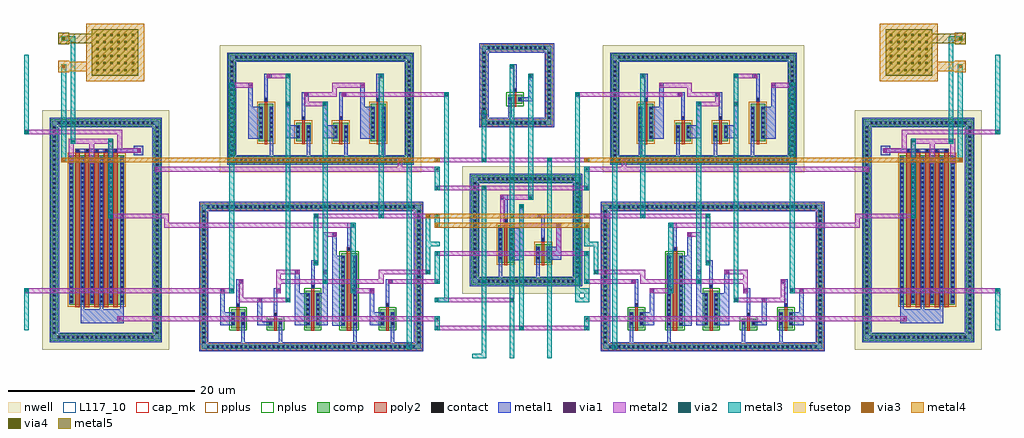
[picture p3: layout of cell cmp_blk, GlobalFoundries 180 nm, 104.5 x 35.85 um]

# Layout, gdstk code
from math import pi, radians
import gdstk
lib = gdstk.Library(unit=1e-6, precision=1e-09)
def R(c, l, rs):  # rectangles x0, y0, x1, y1
    for r in rs: c.add(gdstk.rectangle(r[:2], r[2:], *l))
def A(c, l, x, y, w, h, nx, ny, dx, dy):  # array of equal rectangles
    R(c, l, [(x+i*dx, y+j*dy, x+i*dx+w, y+j*dy+h) for i in range(nx) for j in range(ny)])
nwell = (21, 0)
comp = (22, 0)
poly2 = (30, 0)
pplus = (31, 0)
nplus = (32, 0)
contact = (33, 0)
metal1 = (34, 0)
via1 = (35, 0)
metal2 = (36, 0)
via2 = (38, 0)
via3 = (40, 0)
via4 = (41, 0)
metal3 = (42, 0)
metal4 = (46, 0)
fusetop = (75, 0)
metal5 = (81, 0)
cap_mk = (117, 5)
L117_10 = (117, 10)

nfet__5 = lib.new_cell('nfet__5')
R(nfet__5, comp, [(-0.42,0,0,2), (0,0,0.66,2), (0.66,0,1.08,2)])
R(nfet__5, poly2, [(0.19,-0.3,0.47,2.3), (0.15,2.3,0.51,2.66)])
R(nfet__5, nplus, [(-0.59,-0.24,1.25,2.24)])
A(nfet__5, contact, -0.32, 0.38, 0.22, 0.22, 1, 3, 0, 0.51)
A(nfet__5, contact, 0.76, 0.38, 0.22, 0.22, 1, 3, 0, 0.51)
R(nfet__5, contact, [(0.22,2.37,0.44,2.59)])
R(nfet__5, metal1, [(-0.4,0.3,-0.02,1.7), (0.68,0.3,1.06,1.7), (0.14,2.285,0.52,2.675)])

nfet__6 = lib.new_cell('nfet__6')
R(nfet__6, comp, [(-0.42,0,0,8), (0,0,0.88,8), (0.88,0,1.3,8)])
R(nfet__6, poly2, [(0.19,-0.3,0.69,8.3), (0.19,8.3,0.69,8.66)])
R(nfet__6, nplus, [(-0.59,-0.24,1.47,8.24)])
A(nfet__6, contact, -0.32, 0.32, 0.22, 0.22, 1, 15, 0, 0.51)
A(nfet__6, contact, 0.98, 0.32, 0.22, 0.22, 1, 15, 0, 0.51)
R(nfet__6, contact, [(0.33,8.37,0.55,8.59)])
R(nfet__6, metal1, [(-0.4,0.24,-0.02,7.76), (0.9,0.24,1.28,7.76), (0.25,8.285,0.63,8.675)])

nfet__7 = lib.new_cell('nfet__7')
R(nfet__7, comp, [(-0.42,0,0,4), (0,0,0.66,4), (0.66,0,1.08,4)])
R(nfet__7, poly2, [(0.19,-0.3,0.47,4.3), (0.15,4.3,0.51,4.66)])
R(nfet__7, nplus, [(-0.59,-0.24,1.25,4.24)])
A(nfet__7, contact, -0.32, 0.36, 0.22, 0.22, 1, 7, 0, 0.51)
A(nfet__7, contact, 0.76, 0.36, 0.22, 0.22, 1, 7, 0, 0.51)
R(nfet__7, contact, [(0.22,4.37,0.44,4.59)])
R(nfet__7, metal1, [(-0.4,0.28,-0.02,3.72), (0.68,0.28,1.06,3.72), (0.14,4.285,0.52,4.675)])

nfet__0 = lib.new_cell('nfet__0')
R(nfet__0, comp, [(-0.42,0,0,1), (0,0,0.66,1), (0.66,0,1.08,1)])
R(nfet__0, poly2, [(0.19,-0.3,0.47,1.3), (0.15,1.3,0.51,1.66)])
R(nfet__0, nplus, [(-0.59,-0.24,1.25,1.24)])
R(nfet__0, contact, [(-0.32,0.39,-0.1,0.61), (0.76,0.39,0.98,0.61), (0.22,1.37,0.44,1.59)])
R(nfet__0, metal1, [(-0.4,0.305,-0.02,0.695), (0.68,0.305,1.06,0.695), (0.14,1.285,0.52,1.675)])

cn_x = lib.new_cell('cn_x')
R(cn_x, comp, [(-3.21,-2.21,-2.79,13.21), (-2.79,-2.21,19.79,-1.79), (19.79,-2.21,20.21,13.21), (-2.79,12.79,19.79,13.21)])
R(cn_x, pplus, [(-3.37,-2.37,20.37,-1.63), (-3.37,-2.37,-2.63,13.37), (19.63,-2.37,20.37,13.37), (-3.37,12.63,20.37,13.37)])
A(cn_x, contact, -2.61, -2.11, 0.22, 0.22, 45, 2, 0.5, 15)
A(cn_x, contact, -3.11, -1.61, 0.22, 0.22, 1, 29, 0, 0.5)
A(cn_x, contact, 19.89, -1.61, 0.22, 0.22, 1, 29, 0, 0.5)
R(cn_x, metal1, [(-3.5,-2.5,-2.5,13.5), (-2.5,-2.5,19.5,-1.5), (19.5,-2.5,20.5,13.5), (-0.4,-2,-0.02,0.32), (3.6,-2,3.98,0.26), (11.6,-2,11.98,0.325), (15.6,-2,15.98,0.32), (3.6,0.24,3.98,7.76), (4.9,0.24,6.25,7.76), (5.75,0.24,6.25,10.25), (6.75,0.28,7.98,3.72), (6.75,0.28,7.25,6.25), (8.68,0.28,10.25,3.72), (9.75,0.28,10.25,6.25), (-0.4,0.3,-0.02,1.7), (0.68,0.3,2.25,1.7), (1.75,0.3,2.25,4.25), (15.6,0.3,15.98,1.7), (16.68,0.3,18.25,1.7), (17.75,0.3,18.25,4.25), (11.6,0.305,11.98,0.695), (12.68,0.305,14.25,0.695), (13.75,0.305,14.25,3.25), (12.14,1.655,12.52,4.25), (0.14,2.655,0.52,5.25), (16.14,2.655,16.52,5.25), (11.75,3.75,12.52,4.25), (8.14,4.655,8.52,7.25), (-0.25,4.75,0.52,5.25), (15.75,4.75,16.52,5.25), (7.75,6.75,8.52,7.25), (4.25,8.655,4.63,11.25), (3.75,10.75,4.63,11.25), (-2.5,12.5,19.5,13.5)])
cn_x.add(gdstk.Reference(nfet__5, (0,0)))
cn_x.add(gdstk.Reference(nfet__6, (4,0)))
cn_x.add(gdstk.Reference(nfet__7, (8,0)))
cn_x.add(gdstk.Reference(nfet__0, (12,0)))
cn_x.add(gdstk.Reference(nfet__5, (16,0)))

pfet__8 = lib.new_cell('pfet__8')
R(pfet__8, nwell, [(-0.9,-0.44,1.56,4.44)])
R(pfet__8, comp, [(-0.46,0,0,4), (0,0,0.66,4), (0.66,0,1.12,4)])
R(pfet__8, poly2, [(0.19,-0.3,0.47,4.3), (0.14,4.3,0.52,4.68)])
R(pfet__8, pplus, [(-0.63,-0.24,1.29,4.24)])
A(pfet__8, contact, -0.34, 0.36, 0.22, 0.22, 1, 7, 0, 0.51)
A(pfet__8, contact, 0.78, 0.36, 0.22, 0.22, 1, 7, 0, 0.51)
R(pfet__8, contact, [(0.22,4.38,0.44,4.6)])
R(pfet__8, metal1, [(-0.42,0.28,-0.04,3.72), (0.7,0.28,1.08,3.72), (0.14,4.295,0.52,4.685)])

pfet__1 = lib.new_cell('pfet__1')
R(pfet__1, nwell, [(-0.9,-0.44,1.56,2.44)])
R(pfet__1, comp, [(-0.46,0,0,2), (0,0,0.66,2), (0.66,0,1.12,2)])
R(pfet__1, poly2, [(0.19,-0.3,0.47,2.3), (0.14,2.3,0.52,2.68)])
R(pfet__1, pplus, [(-0.63,-0.24,1.29,2.24)])
A(pfet__1, contact, -0.34, 0.38, 0.22, 0.22, 1, 3, 0, 0.51)
A(pfet__1, contact, 0.78, 0.38, 0.22, 0.22, 1, 3, 0, 0.51)
R(pfet__1, contact, [(0.22,2.38,0.44,2.6)])
R(pfet__1, metal1, [(-0.42,0.3,-0.04,1.7), (0.7,0.3,1.08,1.7), (0.14,2.295,0.52,2.685)])

cp_x = lib.new_cell('cp_x')
R(cp_x, nwell, [(-4.3,-3.3,17.3,10.3)])
R(cp_x, comp, [(-3.21,-2.21,-2.79,9.21), (-2.79,-2.21,15.79,-1.79), (15.79,-2.21,16.21,9.21), (-2.79,8.79,15.79,9.21)])
R(cp_x, nplus, [(-3.37,-2.37,16.37,-1.63), (-3.37,-2.37,-2.63,9.37), (15.63,-2.37,16.37,9.37), (-3.37,8.63,16.37,9.37)])
A(cp_x, contact, -2.61, -2.11, 0.22, 0.22, 37, 2, 0.5, 11)
A(cp_x, contact, -3.11, -1.61, 0.22, 0.22, 1, 21, 0, 0.5)
A(cp_x, contact, 15.89, -1.61, 0.22, 0.22, 1, 21, 0, 0.5)
R(cp_x, metal1, [(-3.5,-2.5,-2.5,9.5), (-2.5,-2.5,15.5,-1.5), (15.5,-2.5,16.5,9.5), (-0.42,-2,-0.04,0.3), (3.58,-2,3.96,0.32), (7.58,-2,7.96,0.32), (11.58,-2,11.96,0.3), (-0.42,0.28,-0.04,3.72), (0.7,0.28,2.25,3.72), (1.75,0.28,2.25,6.25), (11.58,0.28,11.96,3.72), (12.7,0.28,14.25,3.72), (13.75,0.28,14.25,6.25), (3.58,0.3,3.96,1.7), (4.7,0.3,6.25,1.7), (5.75,0.3,6.25,4.25), (7.58,0.3,7.96,1.7), (8.7,0.3,10.25,1.7), (9.75,0.3,10.25,4.25), (4.14,2.665,4.52,5.25), (8.14,2.665,8.52,5.25), (0.14,4.665,0.52,7.25), (12.14,4.665,12.52,7.25), (3.75,4.75,4.52,5.25), (7.75,4.75,8.52,5.25), (-0.25,6.75,0.52,7.25), (11.75,6.75,12.52,7.25), (-2.5,8.5,15.5,9.5)])
cp_x.add(gdstk.Reference(pfet__8, (0,0)))
cp_x.add(gdstk.Reference(pfet__1, (4,0)))
cp_x.add(gdstk.Reference(pfet__1, (8,0)))
cp_x.add(gdstk.Reference(pfet__8, (12,0)))

pfet__4 = lib.new_cell('pfet__4')
R(pfet__4, nwell, [(-0.9,-0.44,5.86,16.44)])
R(pfet__4, comp, [(-0.46,0,0,16), (0,0,4.96,16), (4.96,0,5.42,16)])
A(pfet__4, poly2, 0.19, -0.3, 0.5, 16.6, 5, 1, 1.02, 0)
A(pfet__4, poly2, 0.19, 16.3, 0.5, 0.38, 5, 1, 1.02, 0)
R(pfet__4, pplus, [(-0.63,-0.24,5.59,16.24)])
A(pfet__4, contact, -0.34, 0.24, 0.22, 0.22, 1, 31, 0, 0.51)
A(pfet__4, contact, 0.84, 0.24, 0.22, 0.22, 4, 31, 1.02, 0.51)
A(pfet__4, contact, 5.08, 0.24, 0.22, 0.22, 1, 31, 0, 0.51)
A(pfet__4, contact, 0.33, 16.38, 0.22, 0.22, 5, 1, 1.02, 0)
A(pfet__4, metal1, 0.76, 0.16, 0.38, 15.68, 4, 1, 1.02, 0)
A(pfet__4, metal1, 0.25, 16.295, 0.38, 0.39, 5, 1, 1.02, 0)
R(pfet__4, metal1, [(-0.42,0.16,-0.04,15.84), (5,0.16,5.38,15.84)])

pair_x = lib.new_cell('pair_x')
R(pair_x, nwell, [(-5.3,-5.3,8.3,20.3)])
R(pair_x, comp, [(-4.21,-4.21,-3.79,19.21), (-3.79,-4.21,6.79,-3.79), (6.79,-4.21,7.21,19.21), (-3.79,18.79,6.79,19.21)])
R(pair_x, nplus, [(-4.37,-4.37,7.37,-3.63), (-4.37,-4.37,-3.63,19.37), (6.63,-4.37,7.37,19.37), (-4.37,18.63,7.37,19.37)])
A(pair_x, contact, -3.61, -4.11, 0.22, 0.22, 21, 2, 0.5, 23)
A(pair_x, contact, -4.11, -3.61, 0.22, 0.22, 1, 45, 0, 0.5)
A(pair_x, contact, 6.89, -3.61, 0.22, 0.22, 1, 45, 0, 0.5)
R(pair_x, metal1, [(-4.5,-4.5,-3.5,19.5), (-3.5,-4.5,6.5,-3.5), (6.5,-4.5,7.5,19.5), (-0.42,-2.49,-0.04,-0.31), (-0.42,-2.49,4.2,-0.99), (1.78,-2.49,2.16,-0.31), (3.82,-2.49,4.2,-0.31), (0.7,14.65,1.2,15.15), (2.74,14.65,3.24,15.15), (4.94,14.65,5.44,15.15), (-2.5,15.5,-1.5,16.5), (-2,15.805,0.26,16.195), (0.25,15.805,4.71,16.195), (-3.5,18.5,6.5,19.5)])
R(pair_x, via1, [(0.82,14.77,1.08,15.03), (2.86,14.77,3.12,15.03), (5.06,14.77,5.32,15.03)])
R(pair_x, metal2, [(0.7,14.65,1.2,17.25), (2.74,14.65,3.24,17.25), (4.94,14.65,5.44,17.25), (0.7,16.75,5.44,17.25)])
pair_x.add(gdstk.Reference(pfet__4, (0,-0.49)))

cap_mim__2 = lib.new_cell('cap_mim__2')
A(cap_mim__2, via4, 0.47, 0.47, 0.26, 0.26, 6, 6, 0.76, 0.76)
R(cap_mim__2, metal4, [(-0.6,-0.6,5.6,5.6)])
R(cap_mim__2, fusetop, [(0,0,5,5)])
R(cap_mim__2, metal5, [(0,0,5,5)])
R(cap_mim__2, cap_mk, [(-0.6,-0.6,5.6,5.6)])
R(cap_mim__2, L117_10, [(0,0,5,0.1)])

cxa_x = lib.new_cell('cxa_x')
R(cxa_x, via4, [(7.87,3.87,8.13,4.13)])
R(cxa_x, metal4, [(7.4,0.4,8.6,1.6), (5.5,0.5,7.5,1.5), (7.4,3.4,8.6,4.6)])
R(cxa_x, metal5, [(7.4,3.4,8.6,4.6), (4.99,3.5,8.6,4.5)])
cxa_x.add(gdstk.Reference(cap_mim__2, (0,0)))

cmp_side = lib.new_cell('cmp_side')
R(cmp_side, metal1, [(1.75,0.75,2.25,1.25), (32.75,3.75,33.25,4.25), (17.75,5.75,18.25,6.25), (5.75,6.75,6.25,7.25), (15.75,6.75,16.25,7.25), (21.75,6.75,22.25,7.25), (3.75,7.75,4.25,8.25), (19.75,7.75,20.25,8.25), (10.75,8.75,11.25,9.25), (13.75,8.75,14.25,9.25), (11.75,9.75,12.25,10.25), (9.75,12.75,10.25,13.25), (7.75,13.75,8.25,14.25), (28.75,19.75,29.25,20.25), (2.75,20.75,3.25,21.25), (30.75,21.75,31.25,22.25), (10.75,26.75,11.25,27.25), (14.75,26.75,15.25,27.25), (8.75,27.75,9.25,28.25), (12.75,27.75,13.25,28.25), (6.75,28.75,7.25,29.25), (18.75,28.75,19.25,29.25), (4.75,29.75,5.25,30.25), (16.75,29.75,17.25,30.25)])
R(cmp_side, via1, [(1.87,0.87,2.13,1.13), (32.87,3.87,33.13,4.13), (17.87,5.87,18.13,6.13), (5.87,6.87,6.13,7.13), (15.87,6.87,16.13,7.13), (21.87,6.87,22.13,7.13), (3.87,7.87,4.13,8.13), (19.87,7.87,20.13,8.13), (10.87,8.87,11.13,9.13), (13.87,8.87,14.13,9.13), (11.87,9.87,12.13,10.13), (9.87,12.87,10.13,13.13), (7.87,13.87,8.13,14.13), (28.87,19.87,29.13,20.13), (2.87,20.87,3.13,21.13), (30.87,21.87,31.13,22.13), (10.87,26.87,11.13,27.13), (14.87,26.87,15.13,27.13), (8.87,27.87,9.13,28.13), (12.87,27.87,13.13,28.13), (6.87,28.87,7.13,29.13), (18.87,28.87,19.13,29.13), (4.87,29.87,5.13,30.13), (16.87,29.87,17.13,30.13)])
A(cmp_side, metal2, -1.25, 3.75, 1.5, 0.5, 34, 1, 1, 0)
A(cmp_side, metal2, -1.25, 3.75, 0.5, 0.5, 35, 1, 1, 0)
A(cmp_side, metal2, 14.75, 5.75, 1.5, 0.5, 5, 1, 1, 0)
A(cmp_side, metal2, 14.75, 5.75, 0.5, 0.5, 4, 1, 1, 0)
A(cmp_side, metal2, 17.75, 5.75, 0.5, 0.5, 3, 1, 1, 0)
A(cmp_side, metal2, 5.75, 6.75, 0.5, 0.5, 3, 1, 1, 0)
A(cmp_side, metal2, 19.75, 6.75, 0.5, 0.5, 3, 1, 1, 0)
A(cmp_side, metal2, 20.75, 6.75, 1.5, 0.5, 22, 1, 1, 0)
A(cmp_side, metal2, 21.75, 6.75, 0.5, 0.5, 22, 1, 1, 0)
A(cmp_side, metal2, -1.25, 7.75, 1.5, 0.5, 5, 1, 1, 0)
A(cmp_side, metal2, -1.25, 7.75, 0.5, 0.5, 13, 1, 1, 0)
A(cmp_side, metal2, 4.75, 7.75, 1.5, 0.5, 11, 1, 1, 0)
A(cmp_side, metal2, 10.75, 7.75, 0.5, 0.5, 6, 1, 1, 0)
A(cmp_side, metal2, -0.25, 8.75, 1.5, 0.5, 5, 1, 1, 0)
A(cmp_side, metal2, -0.25, 8.75, 0.5, 0.5, 6, 1, 1, 0)
A(cmp_side, metal2, 10.75, 8.75, 0.5, 0.5, 1, 5, 0, 1)
A(cmp_side, metal2, 10.75, 8.75, 0.5, 1.5, 1, 4, 0, 1)
A(cmp_side, metal2, 13.75, 8.75, 0.5, 0.5, 3, 1, 1, 0)
A(cmp_side, metal2, 7.75, 13.75, 1.5, 0.5, 20, 1, 1, 0)
A(cmp_side, metal2, 7.75, 13.75, 0.5, 0.5, 21, 1, 1, 0)
A(cmp_side, metal2, -1.25, 14.75, 1.5, 0.5, 13, 1, 1, 0)
A(cmp_side, metal2, -1.25, 14.75, 0.5, 0.5, 7, 1, 1, 0)
A(cmp_side, metal2, 4.75, 14.75, 0.5, 0.5, 8, 1, 1, 0)
A(cmp_side, metal2, 27.75, 14.75, 1.5, 0.5, 6, 1, 1, 0)
A(cmp_side, metal2, 27.75, 14.75, 0.5, 0.5, 7, 1, 1, 0)
A(cmp_side, metal2, -1.25, 19.75, 1.5, 0.5, 30, 1, 1, 0)
A(cmp_side, metal2, -1.25, 19.75, 0.5, 0.5, 5, 1, 1, 0)
A(cmp_side, metal2, 2.75, 19.75, 0.5, 0.5, 27, 1, 1, 0)
A(cmp_side, metal2, 30.75, 21.75, 0.5, 0.5, 3, 1, 1, 0)
A(cmp_side, metal2, 33.75, 22.75, 1.5, 0.5, 4, 1, 1, 0)
A(cmp_side, metal2, 33.75, 22.75, 0.5, 0.5, 5, 1, 1, 0)
A(cmp_side, metal2, 32.75, 23.75, 1.5, 0.5, 10, 1, 1, 0)
A(cmp_side, metal2, 32.75, 23.75, 0.5, 0.5, 11, 1, 1, 0)
A(cmp_side, metal2, 10.75, 26.75, 0.5, 0.5, 3, 1, 1, 0)
A(cmp_side, metal2, -2.25, 27.75, 1.5, 0.5, 11, 1, 1, 0)
A(cmp_side, metal2, -2.25, 27.75, 0.5, 0.5, 16, 1, 1, 0)
A(cmp_side, metal2, 9.75, 27.75, 1.5, 0.5, 3, 1, 1, 0)
A(cmp_side, metal2, 6.75, 28.75, 1.5, 0.5, 3, 1, 1, 0)
A(cmp_side, metal2, 6.75, 28.75, 0.5, 0.5, 4, 1, 1, 0)
A(cmp_side, metal2, 18.75, 28.75, 0.5, 0.5, 3, 1, 1, 0)
A(cmp_side, metal2, 14.75, 29.75, 0.5, 0.5, 3, 1, 1, 0)
R(cmp_side, metal2, [(1.75,0.75,2.25,1.25), (19.75,5.75,20.25,7.25), (5.75,6.75,7.25,7.25), (6.75,6.75,8.25,7.25), (15.75,6.75,16.25,7.25), (15.75,6.75,16.25,8.25), (19.75,6.75,20.25,8.25), (4.75,7.75,5.25,9.25), (15.75,7.75,16.25,8.25), (15.75,7.75,16.25,9.25), (19.75,7.75,20.25,8.25), (13.75,8.75,15.25,9.25), (14.75,8.75,16.25,9.25), (11.75,9.75,12.25,10.25), (9.75,12.75,11.25,13.25), (9.75,12.75,10.25,13.25), (7.75,13.75,8.25,14.25), (27.75,13.75,28.25,15.25), (2.75,19.75,3.25,21.25), (2.75,20.75,3.25,21.25), (30.75,21.75,32.25,22.25), (31.75,21.75,33.25,22.25), (32.75,21.75,33.25,23.25), (32.75,22.75,33.25,23.25), (32.75,22.75,33.25,24.25), (33.75,22.75,34.25,23.25), (10.75,26.75,12.25,27.25), (10.75,26.75,11.25,27.25), (11.75,26.75,13.25,27.25), (12.75,26.75,13.25,28.25), (14.75,26.75,15.25,27.25), (9.75,27.75,10.25,29.25), (12.75,27.75,13.25,28.25), (18.75,28.75,20.25,29.25), (19.75,28.75,21.25,29.25), (4.75,29.75,5.25,30.25), (14.75,29.75,16.25,30.25), (15.75,29.75,17.25,30.25)])
R(cmp_side, via2, [(1.87,0.87,2.13,1.13), (-1.13,3.87,-0.87,4.13), (14.87,5.87,15.13,6.13), (7.87,6.87,8.13,7.13), (20.87,6.87,21.13,7.13), (42.87,6.87,43.13,7.13), (-1.13,7.87,-0.87,8.13), (10.87,7.87,11.13,8.13), (-0.13,8.87,0.13,9.13), (11.87,9.87,12.13,10.13), (7.87,13.87,8.13,14.13), (-1.13,14.87,-0.87,15.13), (4.87,14.87,5.13,15.13), (11.87,14.87,12.13,15.13), (33.87,14.87,34.13,15.13), (-1.13,19.87,-0.87,20.13), (33.87,22.87,34.13,23.13), (37.87,22.87,38.13,23.13), (42.87,23.87,43.13,24.13), (10.87,26.87,11.13,27.13), (14.87,26.87,15.13,27.13), (-2.13,27.87,-1.87,28.13), (20.87,28.87,21.13,29.13), (4.87,29.87,5.13,30.13), (14.87,29.87,15.13,30.13)])
R(cmp_side, via3, [(-1.13,20.87,-0.87,21.13), (1.87,20.87,2.13,21.13), (38.87,20.87,39.13,21.13), (38.87,30.87,39.13,31.13), (38.87,33.87,39.13,34.13)])
A(cmp_side, metal3, 1.75, 0.75, 0.5, 1.5, 1, 8, 0, 1)
A(cmp_side, metal3, 1.75, 0.75, 0.5, 0.5, 1, 9, 0, 1)
A(cmp_side, metal3, 42.75, 2.75, 0.5, 1.5, 1, 4, 0, 1)
A(cmp_side, metal3, 42.75, 2.75, 0.5, 0.5, 1, 5, 0, 1)
A(cmp_side, metal3, -2.25, 5.75, 0.5, 1.5, 1, 3, 0, 1)
A(cmp_side, metal3, -2.25, 5.75, 0.5, 0.5, 1, 4, 0, 1)
A(cmp_side, metal3, 14.75, 5.75, 0.5, 1.5, 1, 24, 0, 1)
A(cmp_side, metal3, 14.75, 5.75, 0.5, 0.5, 1, 22, 0, 1)
A(cmp_side, metal3, 7.75, 6.75, 0.5, 1.5, 1, 7, 0, 1)
A(cmp_side, metal3, 7.75, 6.75, 0.5, 0.5, 1, 8, 0, 1)
A(cmp_side, metal3, 20.75, 6.75, 0.5, 1.5, 1, 22, 0, 1)
A(cmp_side, metal3, 20.75, 6.75, 0.5, 0.5, 1, 23, 0, 1)
A(cmp_side, metal3, 10.75, 7.75, 0.5, 1.5, 1, 19, 0, 1)
A(cmp_side, metal3, 10.75, 7.75, 0.5, 0.5, 1, 20, 0, 1)
A(cmp_side, metal3, -2.25, 8.75, 0.5, 1.5, 3, 3, 2, 1)
A(cmp_side, metal3, -2.25, 9.75, 0.5, 0.5, 3, 2, 2, 1)
A(cmp_side, metal3, 11.75, 9.75, 0.5, 1.5, 1, 5, 0, 1)
A(cmp_side, metal3, 11.75, 9.75, 0.5, 0.5, 1, 6, 0, 1)
A(cmp_side, metal3, -2.25, 11.75, 0.5, 1.5, 1, 16, 0, 1)
A(cmp_side, metal3, -2.25, 11.75, 0.5, 0.5, 1, 17, 0, 1)
A(cmp_side, metal3, -1.25, 11.75, 0.5, 0.5, 1, 4, 0, 3)
A(cmp_side, metal3, 1.75, 11.75, 0.5, 1.5, 1, 6, 0, 1)
A(cmp_side, metal3, 1.75, 11.75, 0.5, 0.5, 1, 3, 0, 1)
A(cmp_side, metal3, -1.25, 14.75, 0.5, 0.5, 3, 2, 3, 3)
A(cmp_side, metal3, 4.75, 14.75, 0.5, 1.5, 1, 3, 0, 1)
A(cmp_side, metal3, 33.75, 14.75, 0.5, 1.5, 1, 8, 0, 1)
A(cmp_side, metal3, 33.75, 14.75, 0.5, 0.5, 1, 9, 0, 1)
A(cmp_side, metal3, -1.25, 17.75, 0.5, 1.5, 3, 2, 3, 1)
A(cmp_side, metal3, -1.25, 18.75, 0.5, 0.5, 3, 3, 3, 1)
A(cmp_side, metal3, 4.75, 19.75, 0.5, 1.5, 1, 10, 0, 1)
A(cmp_side, metal3, 38.75, 20.75, 0.5, 1.5, 1, 10, 0, 1)
A(cmp_side, metal3, 38.75, 20.75, 0.5, 0.5, 1, 11, 0, 1)
A(cmp_side, metal3, 4.75, 21.75, 0.5, 0.5, 1, 9, 0, 1)
A(cmp_side, metal3, 37.75, 22.75, 0.5, 1.5, 1, 11, 0, 1)
A(cmp_side, metal3, 37.75, 22.75, 0.5, 0.5, 1, 12, 0, 1)
A(cmp_side, metal3, 42.75, 23.75, 0.5, 1.5, 1, 8, 0, 1)
A(cmp_side, metal3, 42.75, 23.75, 0.5, 0.5, 1, 9, 0, 1)
A(cmp_side, metal3, 14.75, 26.75, 0.5, 0.5, 1, 4, 0, 1)
R(cmp_side, metal3, [(-1.25,2.75,-0.75,4.25), (-1.25,2.75,-0.75,3.25), (-1.25,2.75,-0.75,3.25), (42.75,2.75,43.25,3.25), (-1.25,3.75,-0.75,4.25), (-2.25,5.75,-0.75,6.25), (-1.25,5.75,-0.75,6.25), (-1.25,5.75,-0.75,6.25), (-1.25,7.75,-0.75,9.25), (-1.25,7.75,-0.75,8.25), (-1.25,8.75,-0.75,9.25), (-1.25,8.75,-0.75,9.25), (-0.25,8.75,0.25,9.25), (-1.25,11.75,-0.75,12.25), (-1.25,11.75,0.25,12.25), (-0.25,11.75,0.25,12.25), (1.75,15.75,2.25,16.25), (4.75,15.75,5.25,16.25), (1.75,16.75,2.25,17.25), (4.75,16.75,5.25,17.25), (1.75,19.75,2.25,21.25), (42.75,31.75,43.25,32.25), (37.75,33.75,39.25,34.25), (38.75,33.75,39.25,34.25)])
A(cmp_side, metal4, -1.25, 20.75, 0.5, 0.5, 4, 1, 1, 0)
A(cmp_side, metal4, -1.25, 20.75, 1.5, 0.5, 40, 1, 1, 0)
A(cmp_side, metal4, 1.75, 20.75, 0.5, 0.5, 38, 1, 1, 0)
R(cmp_side, metal4, [(38.75,30.75,39.25,31.25), (38.75,33.75,39.25,34.25)])
cmp_side.add(gdstk.Reference(cn_x, (4,3)))
cmp_side.add(gdstk.Reference(cp_x, (5,23)))
cmp_side.add(gdstk.Reference(pair_x, (33,6)))
cmp_side.add(gdstk.Reference(cxa_x, (31,30)))

cc_p = lib.new_cell('cc_p')
R(cc_p, nwell, [(-4.3,-3.3,9.3,10.3)])
R(cc_p, comp, [(-3.21,-2.21,-2.79,9.21), (-2.79,-2.21,7.79,-1.79), (7.79,-2.21,8.21,9.21), (-2.79,8.79,7.79,9.21)])
R(cc_p, nplus, [(-3.37,-2.37,8.37,-1.63), (-3.37,-2.37,-2.63,9.37), (7.63,-2.37,8.37,9.37), (-3.37,8.63,8.37,9.37)])
A(cc_p, contact, -2.61, -2.11, 0.22, 0.22, 21, 2, 0.5, 11)
A(cc_p, contact, -3.11, -1.61, 0.22, 0.22, 1, 21, 0, 0.5)
A(cc_p, contact, 7.89, -1.61, 0.22, 0.22, 1, 21, 0, 0.5)
R(cc_p, metal1, [(-3.5,-2.5,-2.5,9.5), (-2.5,-2.5,7.5,-1.5), (7.5,-2.5,8.5,9.5), (-0.42,-2,-0.04,0.3), (3.58,-2,3.96,0.32), (-0.42,0.28,-0.04,3.72), (0.7,0.28,2.25,3.72), (1.75,0.28,2.25,6.25), (3.58,0.3,3.96,1.7), (4.7,0.3,6.25,1.7), (5.75,0.3,6.25,4.25), (4.14,2.665,4.52,5.25), (0.14,4.665,0.52,7.25), (3.75,4.75,4.52,5.25), (-0.25,6.75,0.52,7.25), (-2.5,8.5,7.5,9.5)])
cc_p.add(gdstk.Reference(pfet__8, (0,0)))
cc_p.add(gdstk.Reference(pfet__1, (4,0)))

cc_n = lib.new_cell('cc_n')
R(cc_n, comp, [(-3.21,-2.21,-2.79,6.21), (-2.79,-2.21,3.79,-1.79), (3.79,-2.21,4.21,6.21), (-2.79,5.79,3.79,6.21)])
R(cc_n, pplus, [(-3.37,-2.37,4.37,-1.63), (-3.37,-2.37,-2.63,6.37), (3.63,-2.37,4.37,6.37), (-3.37,5.63,4.37,6.37)])
A(cc_n, contact, -2.61, -2.11, 0.22, 0.22, 13, 2, 0.5, 8)
A(cc_n, contact, -3.11, -1.61, 0.22, 0.22, 1, 15, 0, 0.5)
A(cc_n, contact, 3.89, -1.61, 0.22, 0.22, 1, 15, 0, 0.5)
R(cc_n, metal1, [(-3.5,-2.5,-2.5,6.5), (-2.5,-2.5,3.5,-1.5), (3.5,-2.5,4.5,6.5), (-0.4,-2,-0.02,0.325), (-0.4,0.305,-0.02,0.695), (0.68,0.305,2.25,0.695), (1.75,0.305,2.25,3.25), (0.14,1.655,0.52,4.25), (-0.25,3.75,0.52,4.25), (-2.5,5.5,3.5,6.5)])
cc_n.add(gdstk.Reference(nfet__0, (0,0)))

cmp_blk = lib.new_cell('cmp_blk')
R(cmp_blk, metal1, [(-3.25,7.75,-2.75,8.25), (4.75,13.75,5.25,14.25), (2.75,14.75,3.25,15.25), (0.75,15.75,1.25,16.25), (-1.25,16.75,-0.75,17.25), (-3.25,25.75,-2.75,26.25), (1.75,29.75,2.25,30.25), (-0.25,30.75,0.25,31.25)])
R(cmp_blk, via1, [(-3.13,7.87,-2.87,8.13), (4.87,13.87,5.13,14.13), (2.87,14.87,3.13,15.13), (0.87,15.87,1.13,16.13), (-1.13,16.87,-0.87,17.13), (-3.13,25.87,-2.87,26.13), (1.87,29.87,2.13,30.13), (-0.13,30.87,0.13,31.13)])
A(cmp_blk, metal2, -8.25, 2.75, 1.5, 0.5, 16, 2, 1, 8)
A(cmp_blk, metal2, -8.25, 2.75, 0.5, 0.5, 10, 1, 1, 0)
A(cmp_blk, metal2, 0.75, 2.75, 0.5, 0.5, 8, 1, 1, 0)
A(cmp_blk, metal2, -8.25, 5.75, 1.5, 0.5, 8, 1, 1, 0)
A(cmp_blk, metal2, -8.25, 5.75, 0.5, 0.5, 9, 1, 1, 0)
A(cmp_blk, metal2, -8.25, 10.75, 0.5, 0.5, 14, 1, 1, 0)
A(cmp_blk, metal2, 4.75, 10.75, 0.5, 0.5, 4, 1, 1, 0)
A(cmp_blk, metal2, 4.75, 10.75, 0.5, 1.5, 1, 3, 0, 1)
A(cmp_blk, metal2, 4.75, 11.75, 0.5, 0.5, 1, 3, 0, 1)
A(cmp_blk, metal2, -1.25, 13.75, 1.5, 0.5, 6, 1, 1, 0)
A(cmp_blk, metal2, -1.25, 13.75, 0.5, 0.5, 7, 1, 1, 0)
A(cmp_blk, metal2, -1.25, 13.75, 0.5, 1.5, 1, 3, 0, 1)
A(cmp_blk, metal2, -1.25, 14.75, 0.5, 0.5, 5, 1, 1, 0)
A(cmp_blk, metal2, -0.25, 14.75, 1.5, 0.5, 7, 1, 1, 0)
A(cmp_blk, metal2, 2.75, 14.75, 0.5, 0.5, 5, 1, 1, 0)
A(cmp_blk, metal2, -1.25, 16.75, 1.5, 0.5, 3, 1, 1, 0)
A(cmp_blk, metal2, -1.25, 16.75, 0.5, 0.5, 4, 1, 1, 0)
A(cmp_blk, metal2, -8.25, 17.75, 1.5, 0.5, 16, 2, 1, 3)
A(cmp_blk, metal2, -8.25, 17.75, 0.5, 0.5, 6, 2, 1, 3)
A(cmp_blk, metal2, -3.25, 17.75, 0.5, 0.5, 12, 1, 1, 0)
A(cmp_blk, metal2, -3.25, 20.75, 0.5, 0.5, 8, 1, 1, 0)
A(cmp_blk, metal2, 3.75, 20.75, 0.5, 0.5, 5, 1, 1, 0)
R(cmp_blk, metal2, [(-3.25,7.75,-2.75,8.25), (-1.25,15.75,-0.75,16.25), (0.75,15.75,1.25,16.25), (-1.25,16.75,-0.75,17.25), (-3.25,25.75,-2.75,26.25), (1.75,29.75,2.25,30.25), (-0.25,30.75,0.25,31.25)])
R(cmp_blk, via2, [(-8.13,2.87,-7.87,3.13), (0.87,2.87,1.13,3.13), (7.87,2.87,8.13,3.13), (-8.13,5.87,-7.87,6.13), (-0.13,5.87,0.13,6.13), (-3.13,7.87,-2.87,8.13), (-8.13,10.87,-7.87,11.13), (7.87,10.87,8.13,11.13), (-0.13,14.87,0.13,15.13), (6.87,14.87,7.13,15.13), (0.87,15.87,1.13,16.13), (1.87,16.87,2.13,17.13), (-8.13,17.87,-7.87,18.13), (-3.13,17.87,-2.87,18.13), (7.87,17.87,8.13,18.13), (-8.13,20.87,-7.87,21.13), (-3.13,20.87,-2.87,21.13), (3.87,20.87,4.13,21.13), (7.87,20.87,8.13,21.13), (-3.13,25.87,-2.87,26.13), (1.87,29.87,2.13,30.13), (-0.13,30.87,0.13,31.13)])
R(cmp_blk, via3, [(-8.13,13.87,-7.87,14.13), (7.87,13.87,8.13,14.13), (-9.13,14.87,-8.87,15.13), (7.87,14.87,8.13,15.13)])
A(cmp_blk, metal3, -3.25, -0.25, 0.5, 1.5, 1, 18, 0, 1)
A(cmp_blk, metal3, -3.25, -0.25, 0.5, 0.5, 1, 9, 0, 1)
A(cmp_blk, metal3, -0.25, -0.25, 0.5, 1.5, 1, 17, 0, 1)
A(cmp_blk, metal3, -0.25, -0.25, 0.5, 0.5, 1, 7, 0, 1)
A(cmp_blk, metal3, 3.75, -0.25, 0.5, 1.5, 1, 7, 0, 1)
A(cmp_blk, metal3, 3.75, -0.25, 0.5, 0.5, 1, 7, 0, 1)
A(cmp_blk, metal3, -8.25, 2.75, 0.5, 0.5, 1, 3, 0, 3)
A(cmp_blk, metal3, 0.75, 2.75, 0.5, 1.5, 1, 4, 0, 1)
A(cmp_blk, metal3, 0.75, 2.75, 0.5, 0.5, 1, 4, 0, 1)
A(cmp_blk, metal3, -0.25, 5.75, 0.5, 0.5, 1, 10, 0, 1)
A(cmp_blk, metal3, 0.75, 6.75, 0.5, 1.5, 3, 8, 3, 1)
A(cmp_blk, metal3, 0.75, 6.75, 0.5, 0.5, 3, 9, 3, 1)
A(cmp_blk, metal3, -3.25, 7.75, 0.5, 0.5, 1, 11, 0, 1)
A(cmp_blk, metal3, 7.75, 8.75, 0.5, 0.5, 1, 7, 0, 1)
A(cmp_blk, metal3, -8.25, 9.75, 0.5, 0.5, 1, 3, 0, 1)
A(cmp_blk, metal3, -9.25, 11.75, 0.5, 1.5, 1, 3, 0, 1)
A(cmp_blk, metal3, -9.25, 11.75, 0.5, 0.5, 1, 4, 0, 1)
A(cmp_blk, metal3, -8.25, 14.75, 0.5, 0.5, 1, 3, 0, 3)
A(cmp_blk, metal3, -0.25, 16.75, 0.5, 1.5, 3, 4, 2, 1)
A(cmp_blk, metal3, -0.25, 16.75, 0.5, 0.5, 3, 5, 2, 1)
A(cmp_blk, metal3, -3.25, 20.75, 0.5, 1.5, 1, 5, 0, 1)
A(cmp_blk, metal3, -3.25, 20.75, 0.5, 0.5, 1, 6, 0, 1)
A(cmp_blk, metal3, -0.25, 20.75, 0.5, 1.5, 1, 10, 0, 1)
A(cmp_blk, metal3, 1.75, 20.75, 0.5, 1.5, 1, 9, 0, 1)
A(cmp_blk, metal3, -0.25, 21.75, 0.5, 0.5, 1, 10, 0, 1)
A(cmp_blk, metal3, 1.75, 21.75, 0.5, 0.5, 1, 9, 0, 1)
R(cmp_blk, metal3, [(-4.25,-0.25,-3.75,0.25), (-4.25,-0.25,-3.75,0.25), (-4.25,-0.25,-2.75,0.25), (-0.25,-0.25,0.25,0.25), (3.75,-0.25,4.25,0.25), (7.75,2.75,8.25,3.25), (51.75,2.75,52.25,3.25), (51.75,2.75,52.25,3.25), (7.75,5.75,8.25,7.25), (7.75,5.75,8.25,6.25), (6.75,6.75,8.25,7.25), (7.75,6.75,8.25,7.25), (-8.25,8.75,-7.75,10.25), (7.75,8.75,8.25,10.25), (-8.25,9.75,-7.75,11.25), (7.75,9.75,8.25,11.25), (-9.25,11.75,-7.75,12.25), (7.75,11.75,8.25,13.25), (7.75,12.75,8.25,14.25), (-8.25,13.75,-7.75,15.25), (-8.25,13.75,-7.75,14.25), (-0.25,14.75,0.25,15.25), (0.75,14.75,1.25,16.25), (3.75,14.75,4.25,16.25), (-0.25,15.75,0.25,16.25), (0.75,15.75,1.25,16.25), (3.75,15.75,4.25,17.25), (3.75,15.75,4.25,16.25), (7.75,17.75,8.25,18.25), (7.75,20.75,8.25,21.25), (-52.25,31.75,-51.75,32.25), (-52.25,31.75,-51.75,32.25), (51.75,31.75,52.25,32.25), (51.75,31.75,52.25,32.25)])
A(cmp_blk, metal4, -8.25, 13.75, 0.5, 0.5, 17, 1, 1, 0)
A(cmp_blk, metal4, -8.25, 13.75, 1.5, 0.5, 16, 1, 1, 0)
A(cmp_blk, metal4, -9.25, 14.75, 0.5, 0.5, 18, 1, 1, 0)
A(cmp_blk, metal4, -9.25, 14.75, 1.5, 0.5, 17, 1, 1, 0)
cmp_blk.add(gdstk.Reference(cmp_side, (9,0)))
cmp_blk.add(gdstk.Reference(cmp_side, (-9,0), rotation=pi, x_reflection=True))
cmp_blk.add(gdstk.Reference(cc_p, (-1,10)))
cmp_blk.add(gdstk.Reference(cc_n, (0,27)))

lib.write_gds('cmp_blk.gds')
